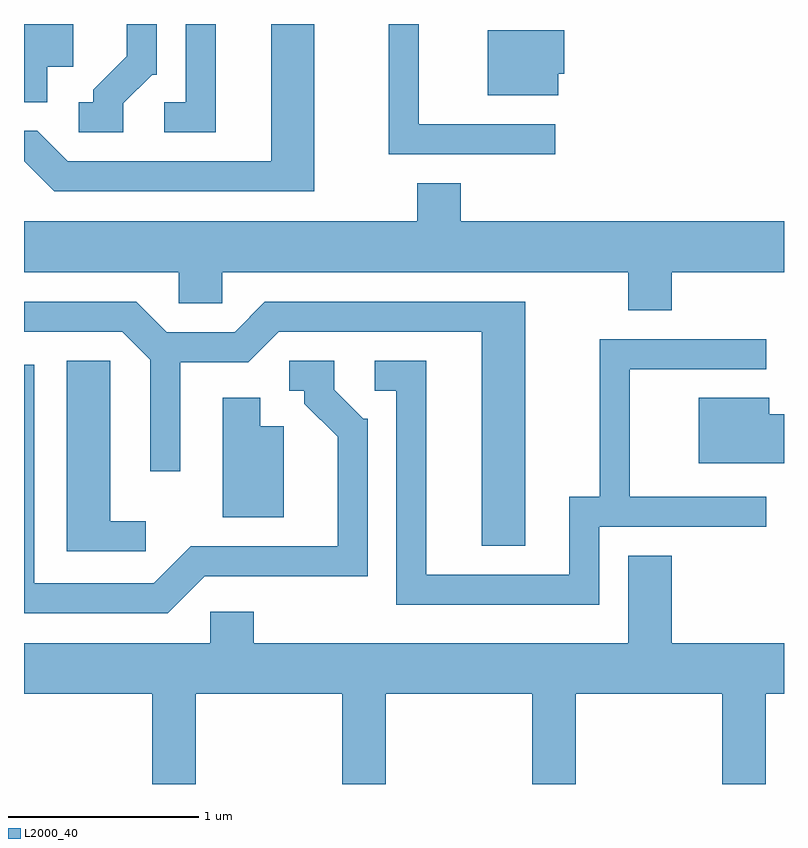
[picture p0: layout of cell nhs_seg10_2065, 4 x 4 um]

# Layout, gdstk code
import gdstk
lib = gdstk.Library(unit=1e-6, precision=1e-09)
def P(c, l, *ps):  # polygons
    for p in ps: c.add(gdstk.Polygon(p, *l))
L2000_40 = (2000, 40)

nhs_seg10_2065 = lib.new_cell('nhs_seg10_2065')
P(nhs_seg10_2065, L2000_40, [(247.139,2148.522),(246.911,2148.522),(246.911,2147.799),(245.842,2147.799),(245.682,2147.959),(245.611,2147.959),(245.611,2147.799),(245.769,2147.641),(247.139,2147.641)],
  [(246.134,2148.104),(246.287,2148.256),(246.309,2148.256),(246.309,2148.522),(246.151,2148.522),(246.151,2148.352),(245.976,2148.177),(245.976,2148.109),(245.898,2148.109),(245.898,2147.951),(246.134,2147.951)],
  [(245.734,2148.296),(245.869,2148.296),(245.869,2148.522),(245.611,2148.522),(245.611,2148.111),(245.734,2148.111)],
  [(248.408,2147.994),(247.689,2147.994),(247.689,2148.522),(247.531,2148.522),(247.531,2147.836),(248.408,2147.836)],
  [(246.619,2148.522),(246.461,2148.522),(246.461,2148.109),(246.348,2148.109),(246.348,2147.951),(246.619,2147.951)],
  [(248.424,2148.261),(248.454,2148.261),(248.454,2148.489),(248.051,2148.489),(248.051,2148.146),(248.424,2148.146)],
  [(249.019,2147.216),(249.611,2147.216),(249.611,2147.484),(247.909,2147.484),(247.909,2147.684),(247.681,2147.684),(247.681,2147.484),(245.611,2147.484),(245.611,2147.216),(246.426,2147.216),(246.426,2147.051),(246.654,2147.051),(246.654,2147.216),(248.791,2147.216),(248.791,2147.016),(249.019,2147.016)],
  [(248.249,2147.059),(246.879,2147.059),(246.719,2146.899),(246.362,2146.899),(246.202,2147.059),(245.611,2147.059),(245.611,2146.901),(246.129,2146.901),(246.276,2146.754),(246.276,2146.168),(246.434,2146.168),(246.434,2146.741),(246.792,2146.741),(246.952,2146.901),(248.021,2146.901),(248.021,2145.776),(248.249,2145.776)],
  [(248.639,2145.876),(249.518,2145.876),(249.518,2146.034),(248.799,2146.034),(248.799,2146.706),(249.518,2146.706),(249.518,2146.864),(248.641,2146.864),(248.641,2146.034),(248.481,2146.034),(248.481,2145.624),(247.729,2145.624),(247.729,2146.749),(247.458,2146.749),(247.458,2146.591),(247.571,2146.591),(247.571,2145.466),(248.639,2145.466)],
  [(246.562,2145.616),(247.419,2145.616),(247.419,2146.444),(247.397,2146.444),(247.244,2146.597),(247.244,2146.749),(247.008,2146.749),(247.008,2146.591),(247.086,2146.591),(247.086,2146.524),(247.261,2146.349),(247.261,2145.774),(246.489,2145.774),(246.294,2145.579),(245.664,2145.579),(245.664,2146.729),(245.611,2146.729),(245.611,2145.421),(246.367,2145.421)],
  [(246.253,2145.904),(246.064,2145.904),(246.064,2146.749),(245.836,2146.749),(245.836,2145.746),(246.253,2145.746)],
  [(246.979,2146.404),(246.854,2146.404),(246.854,2146.554),(246.656,2146.554),(246.656,2145.926),(246.979,2145.926)],
  [(249.611,2146.469),(249.534,2146.469),(249.534,2146.554),(249.161,2146.554),(249.161,2146.211),(249.611,2146.211)],
  [(247.286,2144.522),(247.514,2144.522),(247.514,2144.996),(248.286,2144.996),(248.286,2144.522),(248.514,2144.522),(248.514,2144.996),(249.286,2144.996),(249.286,2144.522),(249.514,2144.522),(249.514,2144.996),(249.611,2144.996),(249.611,2145.264),(249.019,2145.264),(249.019,2145.724),(248.791,2145.724),(248.791,2145.264),(246.819,2145.264),(246.819,2145.429),(246.591,2145.429),(246.591,2145.264),(245.611,2145.264),(245.611,2144.996),(246.286,2144.996),(246.286,2144.522),(246.514,2144.522),(246.514,2144.996),(247.286,2144.996)])

lib.write_gds('nhs_seg10_2065.gds')
